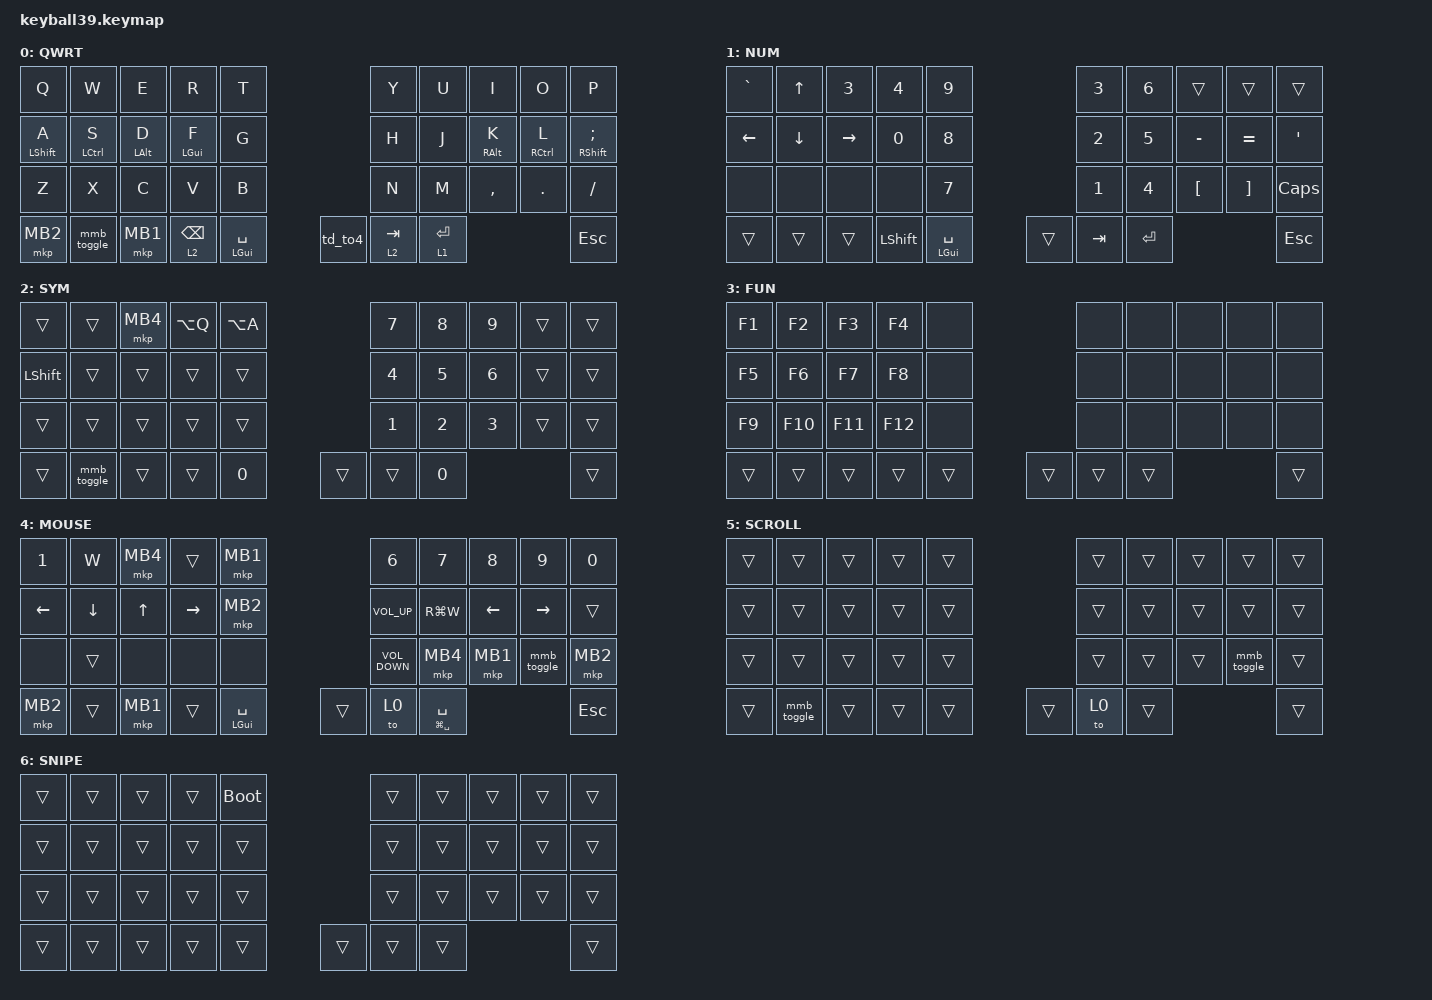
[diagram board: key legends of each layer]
#define DEFAULT 0
#define NUM     1
#define SYM     2
#define FUN     3
#define MOUSE   4
#define SCROLL  5
#define SNIPE   6

#include <behaviors/mouse_keys.dtsi>
#include <dt-bindings/zmk/mouse.h>
#include <input/processors.dtsi>
#include <zephyr/dt-bindings/input/input-event-codes.h>
#include <behaviors.dtsi>
#include <behaviors/runtime_macro.dtsi>
#include <dt-bindings/zmk/runtime_input_processor.h>
#include <behaviors/runtime-input-processor.dtsi>
#include <dt-bindings/zmk/keys.h>
#include <dt-bindings/zmk/pointing.h>

/* --- 1. 输入监听器：回归线性操控，解决“左右乱飞” --- */

&mmv_input_listener {
    /* 将 2 1 改为 1 1，确保横竖速度一致，手感更直观 */

    input-processors = <&zip_xy_scaler 1 1>;
};

&msc_input_listener { input-processors = <&zip_scroll_scaler 1 1>; };

/* --- 2. 行为与参数微调：消除“加速漂移” --- */

&msc {
    acceleration-exponent = <0>;
    time-to-max-speed-ms = <0>;
    delay-ms = <0>;
};

&mmv {
    /* 核心修改：加速度降为 0，实现完全线性移动，控制力倍增 */

    time-to-max-speed-ms = <0>;
    acceleration-exponent = <0>;
    trigger-period-ms = <8>;
};

&lt {
    tapping-term-ms = <200>;
    flavor = "balanced";
    quick-tap-ms = <150>;
};

&mt {
    tapping-term-ms = <180>;
    flavor = "tap-preferred";
    quick-tap-ms = <150>;
};

/ {
    combos {
        compatible = "zmk,combos";

        qw_esc {
            bindings = <&kp ESC>;
            key-positions = <0 1>;
        };
    };

    behaviors {
        hm: homerow_mods {
            compatible = "zmk,behavior-hold-tap";
            #binding-cells = <2>;
            tapping-term-ms = <200>;
            quick-tap-ms = <175>;
            require-prior-idle-ms = <150>;
            flavor = "balanced";
            bindings = <&kp>, <&kp>;
        };

        /* 双击拇指键进入第 4 层 (MOUSE) */

        td_to4: tap_dance_to_layer_4 {
            compatible = "zmk,behavior-tap-dance";
            #binding-cells = <0>;
            tapping-term-ms = <200>;
            bindings = <&none>, <&to 4>;
        };
    };

    macros {
        /* 单击触发：中键点击 + 切换到滚动层 */

        mmb_toggle: mmb_toggle {
            compatible = "zmk,behavior-macro";
            #binding-cells = <0>;
            bindings = <&mkp MCLK &tog SCROLL>;
            label = "MMB_TOGGLE";
        };
    };

    keymap {
        compatible = "zmk,keymap";

        default_layer {
            label = "QWRT";
            bindings = <
&kp Q        &kp W        &kp E       &kp R            &kp T                                   &kp Y        &kp U  &kp I       &kp O        &kp P
&hm LSHFT A  &hm LCTRL S  &hm LALT D  &hm LGUI F       &kp G                                   &kp H        &kp J  &hm RALT K  &hm RCTRL L  &hm RSHFT SEMI
&kp Z        &kp X        &kp C       &kp V            &kp B                                   &kp N        &kp M  &kp COMMA   &kp PERIOD   &kp SLASH
&mkp MB2     &mmb_toggle  &mkp MB1    &lt 2 BACKSPACE  &mt LEFT_GUI SPACE  &td_to4  &lt 2 TAB  &lt 1 ENTER                                  &kp ESC
            >;
        };

        number_layer {
            label = "NUM";
            bindings = <
&kp GRAVE  &kp UP    &kp N3     &kp N4          &kp N9                               &kp N3     &kp N6  &trans     &trans     &trans
&kp LEFT   &kp DOWN  &kp RIGHT  &kp N0          &kp N8                               &kp N2     &kp N5  &kp MINUS  &kp EQUAL  &kp APOS
&none      &none     &none      &none           &kp N7                               &kp N1     &kp N4  &kp LBKT   &kp RBKT   &kp CAPS
&trans     &trans    &trans     &kp LEFT_SHIFT  &mt LEFT_GUI SPACE  &trans  &kp TAB  &kp ENTER                                &kp ESC
            >;
        };

        symbol_layer {
            label = "SYM";
            bindings = <
&trans     &trans       &mkp MB4  &kp LA(Q)  &kp LA(A)                  &kp N7  &kp N8  &kp N9  &trans  &trans
&kp LSHFT  &trans       &trans    &trans     &trans                     &kp N4  &kp N5  &kp N6  &trans  &trans
&trans     &trans       &trans    &trans     &trans                     &kp N1  &kp N2  &kp N3  &trans  &trans
&trans     &mmb_toggle  &trans    &trans     &kp N0     &trans  &trans  &kp N0                          &trans
            >;
        };

        function_layer {
            label = "FUN";
            bindings = <
&kp F1  &kp F2   &kp F3   &kp F4   &none                   &none   &none  &none  &none  &none
&kp F5  &kp F6   &kp F7   &kp F8   &none                   &none   &none  &none  &none  &none
&kp F9  &kp F10  &kp F11  &kp F12  &none                   &none   &none  &none  &none  &none
&trans  &trans   &trans   &trans   &trans  &trans  &trans  &trans                       &trans
            >;
        };

        mouse_layer {
            label = "MOUSE";
            bindings = <
&kp N1    &kp W     &mkp MB4  &trans     &mkp MB1                       &kp N6               &kp N7     &kp N8          &kp N9       &kp N0
&kp LEFT  &kp DOWN  &kp UP    &kp RIGHT  &mkp MB2                       &kp C_VOLUME_UP      &kp RG(W)  &kp LEFT_ARROW  &kp RIGHT    &trans
&none     &trans    &none     &none      &none                          &kp C_VOLUME_DOWN    &mkp MB4   &mkp MB1        &mmb_toggle  &mkp MB2
&mkp MB2  &trans    &mkp MB1  &trans     &mt LGUI SPACE  &trans  &to 0  &mt LG(SPACE) SPACE                                          &kp ESC
            >;
        };

        scroll_layer {
            label = "SCROLL";
            bindings = <
&trans  &trans       &trans  &trans  &trans                 &trans  &trans  &trans  &trans       &trans
&trans  &trans       &trans  &trans  &trans                 &trans  &trans  &trans  &trans       &trans
&trans  &trans       &trans  &trans  &trans                 &trans  &trans  &trans  &mmb_toggle  &trans
&trans  &mmb_toggle  &trans  &trans  &trans  &trans  &to 0  &trans                               &trans
            >;
        };

        snipe_layer {
            label = "SNIPE";
            bindings = <
&trans  &trans  &trans  &trans  &bootloader                  &trans  &trans  &trans  &trans  &trans
&trans  &trans  &trans  &trans  &trans                       &trans  &trans  &trans  &trans  &trans
&trans  &trans  &trans  &trans  &trans                       &trans  &trans  &trans  &trans  &trans
&trans  &trans  &trans  &trans  &trans       &trans  &trans  &trans                          &trans
            >;
        };
    };
};

/* DYA 输入处理器；保留现有手动鼠标层切换，自动鼠标层默认关闭。 */
&mouse_runtime_input_processor {
    temp-layer = <4>;
    temp-layer-activation-delay-ms = <200>;
    temp-layer-deactivation-delay-ms = <400>;
};

&scroll_runtime_input_processor {
    active-layers = <BIT(5)>;
    x-codes = <INPUT_REL_X>;
    y-codes = <INPUT_REL_Y>;
    xy-to-scroll-enabled;
    axis-snap-threshold = <100>;
};

/* 保留原固件的 1400 CPI，其他轨迹球参数使用卖家 DYA 驱动。 */
&trackball {
    cpi = <1400>;
};
